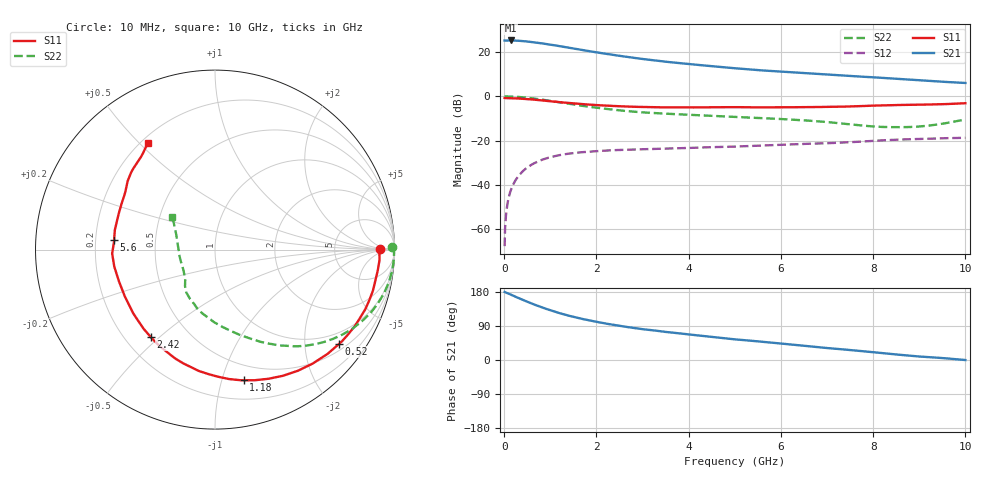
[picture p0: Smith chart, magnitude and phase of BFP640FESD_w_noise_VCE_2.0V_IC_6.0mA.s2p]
! Infineon Technologies  Discrete & RF Semiconductors
! BFP640FESD
! VCE =  2.0 V,  IC =  6.0 mA
! Common Emitter S-Parameters:  Jan 2016
# GHz  S  MA  R  50
!  f  S11  S21  S12  S22
! GHz  MAG  ANG  MAG  ANG  MAG  ANG  MAG  ANG
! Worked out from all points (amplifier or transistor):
!   233 points, 10 MHz to 10 GHz, reference 50 ohm
!   highest |S21| = 25.4 dB at 150 MHz (marker M1)
!   |S21| within 3 dB of that: start of sweep to 1.32 GHz
!   unconditionally stable (mu >= 1): 5.701 GHz to end of sweep
!   at 200 MHz: K = 0.02, MSG = 32.6 dB, |S12| = -39.8 dB
!   at 1.74 GHz: K = 0.33, MSG = 23.1 dB, |S12| = -25.2 dB
!   at 10 GHz: K = 1.19, MAG = 9.8 dB, |S12| = -18.8 dB
!   lowest NFmin = 0.56 dB at 450 MHz
!   S11 on the Smith chart (normalised r, x): 10 MHz: 25, +1; 520 MHz: 0.66, -2.82; 1.18 GHz: 0.36, -1.18; 2.42 GHz: 0.30, -0.47; 5.6 GHz: 0.28, +0.04; 10 GHz: 0.23, +0.53
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0.01  0.9219 0.1  18.59 179.5  0.0004 123.7  0.989 0.7
0.02  0.9163 -1.4  18.52 179.0  0.001 95.6  0.9979 -0.9
0.055  0.9178 -4.1  18.52 177.1  0.0028 86.3  0.9979 -2.4
0.15  0.9099 -11.1  18.64 172.2  0.0077 84.0  0.9936 -6.8
0.32  0.897 -23.3  18.32 163.2  0.0161 77.4  0.9724 -14.4
0.52  0.8679 -37.3  17.56 152.8  0.0252 69.9  0.9305 -22.9
0.68  0.8392 -48.0  16.81 145.1  0.0315 64.4  0.8886 -29.1
0.8  0.8179 -55.6  16.12 139.7  0.0358 60.6  0.8546 -33.6
1  0.7786 -67.6  15.01 131.4  0.0418 54.9  0.7951 -40.4
1.18  0.7455 -77.6  13.97 124.5  0.0461 50.4  0.7425 -46.0
1.4  0.7084 -88.7  12.76 116.9  0.0503 45.8  0.6817 -52.1
1.68  0.6702 -101.0  11.39 108.8  0.0542 41.1  0.6158 -58.8
2  0.6373 -112.8  10.01 100.8  0.0575 37.3  0.5557 -65.6
2.42  0.6046 -126.4  8.596 91.7  0.0606 33.5  0.4935 -74.0
2.88  0.5805 -139.2  7.356 83.4  0.0628 30.8  0.4448 -82.1
3.4  0.5666 -150.7  6.313 75.7  0.0649 29.3  0.4116 -89.0
4.2  0.5643 -165.3  5.198 64.9  0.0689 28.6  0.3752 -97.4
5.1  0.5712 -179.0  4.28 53.5  0.0735 28.0  0.339 -107.6
5.6  0.5647 174.7  3.893 48.0  0.077 28.8  0.3219 -111.8
6.8  0.5754 156.8  3.235 34.0  0.0855 27.1  0.2723 -127.1
8.4  0.6345 137.5  2.559 15.8  0.1032 25.1  0.2012 -162.5
10  0.7018 122.3  2.022 -0.1  0.1152 18.1  0.2997 142.5
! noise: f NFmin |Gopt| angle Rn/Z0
0.45  0.56  0.41  7  0.12
2.4  0.71  0.23  58  0.11
5.5  0.99  0.39  149  0.08
10  1.78  0.49  -120  0.24
